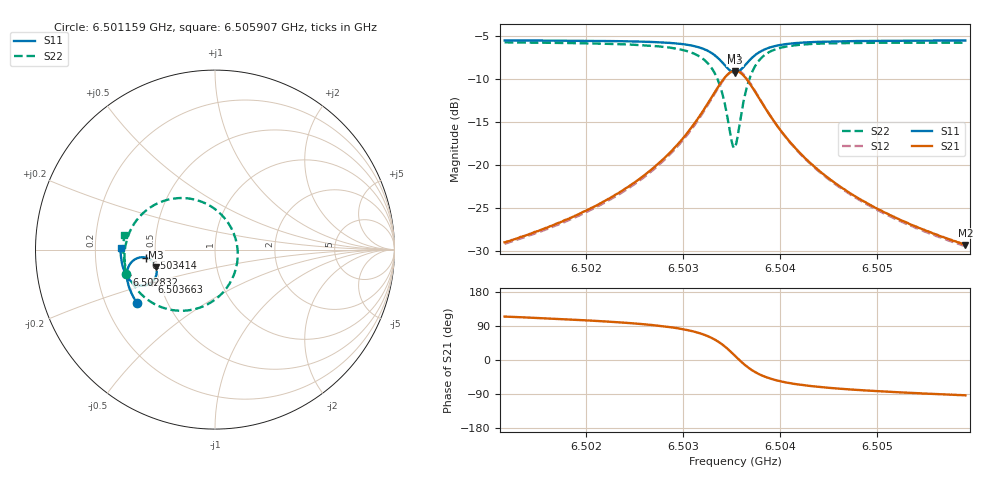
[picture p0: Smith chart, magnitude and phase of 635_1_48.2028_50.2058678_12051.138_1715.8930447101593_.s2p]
#  HZ  S  RI  R  50.00
! Rohde & Schwarz Vector Network Analyzer
! Rohde-Schwarz,ZNB20-2Port,1311601062101988,3.16
! Created: UTC 3/20/2024, 12:04:34 PM
! freq[Hz]  re:S11  im:S11  re:S21  im:S21  re:S12  im:S12  re:S22  im:S22
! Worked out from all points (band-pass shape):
!   401 points, 6.501159 GHz to 6.505907 GHz, reference 50 ohm
!   highest |S21| = -9.09 dB at 6.503533 GHz (marker M1); lowest = -29.3 dB at 6.505907 GHz (marker M2)
!   |S21| within 3 dB of the highest: 6.503296 GHz to 6.50377 GHz (474.3 kHz wide, 0.00729 % of centre)
!   lowest |S11| = -9.3 dB at 6.503533 GHz (marker M3), VSWR 2.04, Z = 24.9 - j5.58 ohm
!   |S11| at or under -10 dB: nowhere
!   |S22| runs from -18.0 to -5.8 dB; largest |S21 - S12| = 0.013
!   S11 on the Smith chart (normalised r, x): 6.501159 GHz: 0.34, -0.27; 6.502832 GHz: 0.33, -0.13; 6.503414 GHz: 0.44, -0.05; 6.503663 GHz: 0.46, -0.19; 6.505907 GHz: 0.31, +0.01
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6.5011589e9  -0.4361 -0.2955  -0.0148 0.0323  -0.013 0.0324  -0.4949 -0.1369
6.5019541e9  -0.4689 -0.2348  -0.0138 0.0509  -0.0113 0.0504  -0.5048 -0.0489
6.5023577e9  -0.4825 -0.1979  -0.011 0.0692  -0.00791 0.068  -0.5007 0.0107
6.5027494e9  -0.4908 -0.1531  -0.000683 0.1023  0.00327 0.0997  -0.4776 0.0931
6.5028325e9  -0.4912 -0.1412  0.00424 0.1132  0.00834 0.11  -0.4667 0.1162
6.5030342e9  -0.4862 -0.1073  0.0278 0.1488  0.0317 0.1442  -0.4179 0.1858
6.5031767e9  -0.4711 -0.0772  0.0665 0.1833  0.0696 0.1771  -0.3429 0.2459
6.5033191e9  -0.4318 -0.0475  0.151 0.2127  0.152 0.2062  -0.1889 0.2874
6.5034141e9  -0.3835 -0.0451  0.2455 0.1955  0.2458 0.1906  -0.0252 0.2426
6.5034971e9  -0.3391 -0.0758  0.3265 0.118  0.3295 0.1135  0.1046 0.0899
6.5035328e9  -0.3278 -0.0989  0.3447 0.0674  0.3489 0.0616  0.1263 -0.00531
6.5035565e9  -0.3247 -0.1159  0.3482 0.0314  0.3528 0.0241  0.1237 -0.0714
6.5035921e9  -0.3269 -0.141  0.3404 -0.0208  0.3445 -0.0302  0.0953 -0.1641
6.5036633e9  -0.3501 -0.1798  0.2917 -0.0998  0.292 -0.1122  -0.0195 -0.2922
6.5037108e9  -0.3714 -0.194  0.2501 -0.1295  0.2473 -0.1418  -0.1072 -0.3302
6.5037701e9  -0.3973 -0.201  0.2012 -0.1464  0.1957 -0.1571  -0.2031 -0.3404
6.5039244e9  -0.4461 -0.1915  0.1142 -0.1419  0.1066 -0.1476  -0.3598 -0.2898
6.5040906e9  -0.4748 -0.1701  0.0672 -0.1198  0.0603 -0.1224  -0.4357 -0.221
6.504328e9  -0.496 -0.1402  0.0358 -0.0938  0.0304 -0.0943  -0.4812 -0.146
6.5047197e9  -0.5127 -0.0981  0.0146 -0.0668  0.011 -0.0665  -0.5055 -0.0632
6.5051232e9  -0.5212 -0.0599  0.00545 -0.051  0.00294 -0.0504  -0.5112 -0.00368
6.5059066e9  -0.5265 0.00725  -0.00193 -0.0342  -0.00332 -0.0336  -0.5045 0.0828
